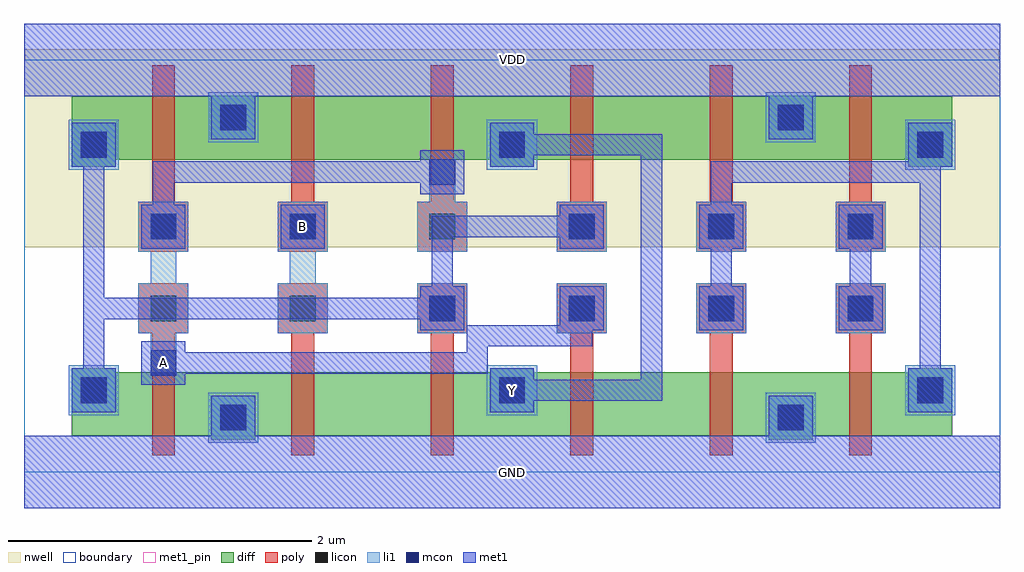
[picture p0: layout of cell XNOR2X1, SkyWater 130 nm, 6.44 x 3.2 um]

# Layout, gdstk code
import gdstk
lib = gdstk.Library(unit=1e-6, precision=1e-09)
def R(c, l, rs):  # rectangles x0, y0, x1, y1
    for r in rs: c.add(gdstk.rectangle(r[:2], r[2:], *l))
def A(c, l, x, y, w, h, nx, ny, dx, dy):  # array of equal rectangles
    R(c, l, [(x+i*dx, y+j*dy, x+i*dx+w, y+j*dy+h) for i in range(nx) for j in range(ny)])
def P(c, l, *ps):  # polygons
    for p in ps: c.add(gdstk.Polygon(p, *l))
nwell = (64, 20)
diff = (65, 20)
poly = (66, 20)
licon = (66, 44)
li1 = (67, 20)
mcon = (67, 44)
met1_pin = (68, 16)
met1 = (68, 20)
boundary = (235, 4)

xnor2x1 = lib.new_cell('XNOR2X1')
P(xnor2x1, nwell, [(0,1.485),(0,2.72),(0.005,2.72),(0.005,2.79),(6.435,2.79),(6.435,2.72),(6.44,2.72),(6.44,1.485)])
P(xnor2x1, diff, [(1.235,0.215),(1.235,0.24),(0.315,0.24),(0.315,0.685),(0.605,0.685),(0.605,0.66),(3.075,0.66),(3.075,0.685),(3.365,0.685),(3.365,0.66),(5.835,0.66),(5.835,0.685),(6.125,0.685),(6.125,0.24),(5.205,0.24),(5.205,0.215),(4.915,0.215),(4.915,0.24),(1.525,0.24),(1.525,0.215)],
  [(0.315,2.015),(0.315,2.48),(1.235,2.48),(1.235,2.485),(1.525,2.485),(1.525,2.48),(4.915,2.48),(4.915,2.485),(5.205,2.485),(5.205,2.48),(6.125,2.48),(6.125,2.015),(5.835,2.015),(5.835,2.06),(3.365,2.06),(3.365,2.015),(3.075,2.015),(3.075,2.06),(0.605,2.06),(0.605,2.015)])
P(xnor2x1, poly, [(0.845,0.11),(0.845,0.915),(0.755,0.915),(0.755,1.245),(1.085,1.245),(1.085,0.915),(0.995,0.915),(0.995,0.11)],
  [(1.765,0.11),(1.765,0.915),(1.675,0.915),(1.675,1.245),(2.005,1.245),(2.005,0.915),(1.915,0.915),(1.915,0.11)],
  [(2.685,0.11),(2.685,0.915),(2.595,0.915),(2.595,1.245),(2.925,1.245),(2.925,0.915),(2.835,0.915),(2.835,0.11)],
  [(3.605,0.11),(3.605,0.915),(3.515,0.915),(3.515,1.245),(3.845,1.245),(3.845,0.915),(3.755,0.915),(3.755,0.11)],
  [(4.525,0.11),(4.525,0.915),(4.435,0.915),(4.435,1.245),(4.765,1.245),(4.765,0.915),(4.675,0.915),(4.675,0.11)],
  [(5.445,0.11),(5.445,0.915),(5.355,0.915),(5.355,1.245),(5.685,1.245),(5.685,0.915),(5.595,0.915),(5.595,0.11)],
  [(0.755,1.455),(0.755,1.785),(0.845,1.785),(0.845,2.685),(0.995,2.685),(0.995,1.785),(1.085,1.785),(1.085,1.455)],
  [(1.675,1.455),(1.675,1.785),(1.765,1.785),(1.765,2.685),(1.915,2.685),(1.915,1.785),(2.005,1.785),(2.005,1.455)],
  [(2.595,1.455),(2.595,1.785),(2.685,1.785),(2.685,2.685),(2.835,2.685),(2.835,1.785),(2.925,1.785),(2.925,1.455)],
  [(3.515,1.455),(3.515,1.785),(3.605,1.785),(3.605,2.685),(3.755,2.685),(3.755,1.785),(3.845,1.785),(3.845,1.455)],
  [(4.435,1.455),(4.435,1.785),(4.525,1.785),(4.525,2.685),(4.675,2.685),(4.675,1.785),(4.765,1.785),(4.765,1.455)],
  [(5.355,1.455),(5.355,1.785),(5.445,1.785),(5.445,2.685),(5.595,2.685),(5.595,1.785),(5.685,1.785),(5.685,1.455)])
A(xnor2x1, licon, 0.375, 0.455, 0.17, 0.17, 3, 2, 2.76, 1.62)
A(xnor2x1, licon, 0.835, 0.995, 0.17, 0.17, 6, 2, 0.92, 0.54)
R(xnor2x1, licon, [(1.295,0.275,1.465,0.445), (4.975,0.275,5.145,0.445), (1.295,2.255,1.465,2.425), (4.975,2.255,5.145,2.425)])
A(xnor2x1, li1, 0.295, 0.375, 0.33, 0.33, 3, 2, 2.76, 1.62)
A(xnor2x1, li1, 2.595, 0.915, 0.33, 0.33, 4, 1, 0.92, 0)
A(xnor2x1, li1, 3.515, 1.455, 0.33, 0.33, 3, 1, 0.92, 0)
R(xnor2x1, li1, [(1.215,0.195,1.545,0.525), (4.895,0.195,5.225,0.525), (1.215,2.175,1.545,2.505), (4.895,2.175,5.225,2.505)])
P(xnor2x1, li1, [(0.835,0.635),(0.835,0.915),(0.755,0.915),(0.755,1.245),(0.835,1.245),(0.835,1.455),(0.755,1.455),(0.755,1.785),(1.085,1.785),(1.085,1.455),(1.005,1.455),(1.005,1.245),(1.085,1.245),(1.085,0.915),(1.005,0.915),(1.005,0.635)],
  [(1.675,0.915),(1.675,1.245),(1.755,1.245),(1.755,1.455),(1.675,1.455),(1.675,1.785),(2.005,1.785),(2.005,1.455),(1.925,1.455),(1.925,1.245),(2.005,1.245),(2.005,0.915)],
  [(2.595,1.455),(2.595,1.785),(2.675,1.785),(2.675,2.065),(2.845,2.065),(2.845,1.785),(2.925,1.785),(2.925,1.455)])
A(xnor2x1, mcon, 0.375, 0.455, 0.17, 0.17, 3, 2, 2.76, 1.62)
A(xnor2x1, mcon, 2.675, 0.995, 0.17, 0.17, 4, 1, 0.92, 0)
A(xnor2x1, mcon, 3.595, 1.535, 0.17, 0.17, 3, 1, 0.92, 0)
R(xnor2x1, mcon, [(1.295,0.275,1.465,0.445), (4.975,0.275,5.145,0.445), (0.835,0.635,1.005,0.805), (0.835,1.535,1.005,1.705), (1.755,1.535,1.925,1.705), (2.675,1.895,2.845,2.065), (1.295,2.255,1.465,2.425), (4.975,2.255,5.145,2.425)])
R(xnor2x1, met1_pin, [(0,-0.24,6.44,0.24), (1.695,1.475,1.985,1.765), (0,2.48,6.44,2.96)])
P(xnor2x1, met1_pin, [(3.075,0.395),(3.075,0.685),(3.365,0.685),(3.365,0.61),(4.07,0.61),(4.07,2.09),(3.365,2.09),(3.365,2.015),(3.075,2.015),(3.075,2.305),(3.365,2.305),(3.365,2.23),(4.21,2.23),(4.21,0.47),(3.365,0.47),(3.365,0.395)],
  [(0.775,0.575),(0.775,0.865),(1.065,0.865),(1.065,0.79),(2.92,0.79),(2.92,0.97),(3.535,0.97),(3.535,1.225),(3.825,1.225),(3.825,0.935),(3.75,0.935),(3.75,0.83),(3.06,0.83),(3.06,0.65),(1.065,0.65),(1.065,0.575)])
R(xnor2x1, met1, [(1.695,1.475,1.985,1.765)])
P(xnor2x1, met1, [(0,-0.24),(0,0.24),(1.235,0.24),(1.235,0.505),(1.525,0.505),(1.525,0.24),(4.915,0.24),(4.915,0.505),(5.205,0.505),(5.205,0.24),(6.44,0.24),(6.44,-0.24)],
  [(0.775,0.575),(0.775,0.865),(1.065,0.865),(1.065,0.79),(2.92,0.79),(2.92,0.97),(3.535,0.97),(3.535,1.225),(3.825,1.225),(3.825,0.935),(3.75,0.935),(3.75,0.83),(3.06,0.83),(3.06,0.65),(1.065,0.65),(1.065,0.575)],
  [(5.375,0.935),(5.375,1.225),(5.45,1.225),(5.45,1.475),(5.375,1.475),(5.375,1.765),(5.665,1.765),(5.665,1.475),(5.59,1.475),(5.59,1.225),(5.665,1.225),(5.665,0.935)],
  [(0.775,1.475),(0.775,1.765),(0.85,1.765),(0.85,2.05),(2.615,2.05),(2.615,2.125),(2.905,2.125),(2.905,1.835),(2.615,1.835),(2.615,1.91),(0.99,1.91),(0.99,1.765),(1.065,1.765),(1.065,1.475)],
  [(0.315,0.395),(0.315,0.685),(0.39,0.685),(0.39,2.015),(0.315,2.015),(0.315,2.305),(0.605,2.305),(0.605,2.015),(0.53,2.015),(0.53,1.15),(2.615,1.15),(2.615,1.225),(2.69,1.225),(2.69,1.69),(3.535,1.69),(3.535,1.765),(3.825,1.765),(3.825,1.475),(3.535,1.475),(3.535,1.55),(2.83,1.55),(2.83,1.225),(2.905,1.225),(2.905,0.935),(2.615,0.935),(2.615,1.01),(0.53,1.01),(0.53,0.685),(0.605,0.685),(0.605,0.395)],
  [(3.075,0.395),(3.075,0.685),(3.365,0.685),(3.365,0.61),(4.07,0.61),(4.07,2.09),(3.365,2.09),(3.365,2.015),(3.075,2.015),(3.075,2.305),(3.365,2.305),(3.365,2.23),(4.21,2.23),(4.21,0.47),(3.365,0.47),(3.365,0.395)],
  [(5.835,0.395),(5.835,0.685),(5.91,0.685),(5.91,1.91),(4.67,1.91),(4.67,1.765),(4.745,1.765),(4.745,1.475),(4.67,1.475),(4.67,1.225),(4.745,1.225),(4.745,0.935),(4.455,0.935),(4.455,1.225),(4.53,1.225),(4.53,1.475),(4.455,1.475),(4.455,1.765),(4.53,1.765),(4.53,2.05),(5.835,2.05),(5.835,2.305),(6.125,2.305),(6.125,2.015),(6.05,2.015),(6.05,0.685),(6.125,0.685),(6.125,0.395)],
  [(1.235,2.195),(1.235,2.48),(0,2.48),(0,2.96),(6.44,2.96),(6.44,2.48),(5.205,2.48),(5.205,2.195),(4.915,2.195),(4.915,2.48),(1.525,2.48),(1.525,2.195)])
R(xnor2x1, boundary, [(0,0,6.44,2.72)])
xnor2x1.add(gdstk.Label('Y', (3.22,0.54), layer=68, texttype=5))
xnor2x1.add(gdstk.Label('A', (0.92,0.72), layer=68, texttype=5))
xnor2x1.add(gdstk.Label('B', (1.84,1.62), layer=68, texttype=5))
xnor2x1.add(gdstk.Label('GND', (3.22,0), layer=68, texttype=5))
xnor2x1.add(gdstk.Label('VDD', (3.22,2.72), layer=68, texttype=5))

lib.write_gds('XNOR2X1.gds')
